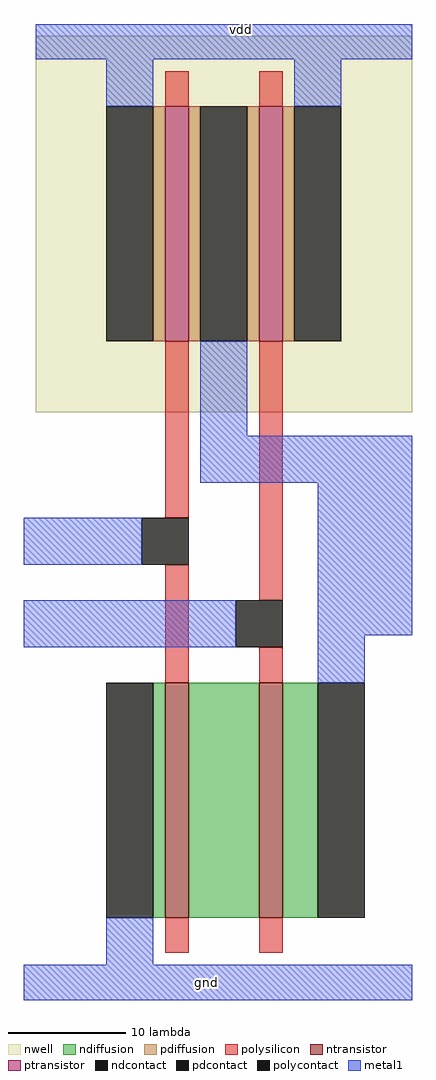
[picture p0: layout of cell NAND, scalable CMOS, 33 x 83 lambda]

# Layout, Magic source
magic
tech scmos
<< nwell >>
rect 0 0 32 32
<< polysilicon >>
rect 11 26 13 29
rect 19 26 21 29
rect 11 -9 13 6
rect 11 -23 13 -13
rect 19 -16 21 6
rect 19 -23 21 -20
rect 11 -46 13 -43
rect 19 -46 21 -43
<< ndiffusion >>
rect 10 -43 11 -23
rect 13 -43 19 -23
rect 21 -43 24 -23
<< pdiffusion >>
rect 10 6 11 26
rect 13 6 14 26
rect 18 6 19 26
rect 21 6 22 26
<< metal1 >>
rect 0 30 32 33
rect 6 26 10 30
rect 22 26 26 30
rect 14 -2 18 6
rect 14 -6 32 -2
rect -1 -13 9 -9
rect -1 -20 17 -16
rect 24 -19 32 -6
rect 24 -23 28 -19
rect 6 -47 10 -43
rect -1 -50 32 -47
<< ntransistor >>
rect 11 -43 13 -23
rect 19 -43 21 -23
<< ptransistor >>
rect 11 6 13 26
rect 19 6 21 26
<< polycontact >>
rect 9 -13 13 -9
rect 17 -20 21 -16
<< ndcontact >>
rect 6 -43 10 -23
rect 24 -43 28 -23
<< pdcontact >>
rect 6 6 10 26
rect 14 6 18 26
rect 22 6 26 26
<< labels >>
rlabel metal1 13 32 22 33 5 vdd
rlabel metal1 10 -49 19 -48 1 gnd
<< end >>
